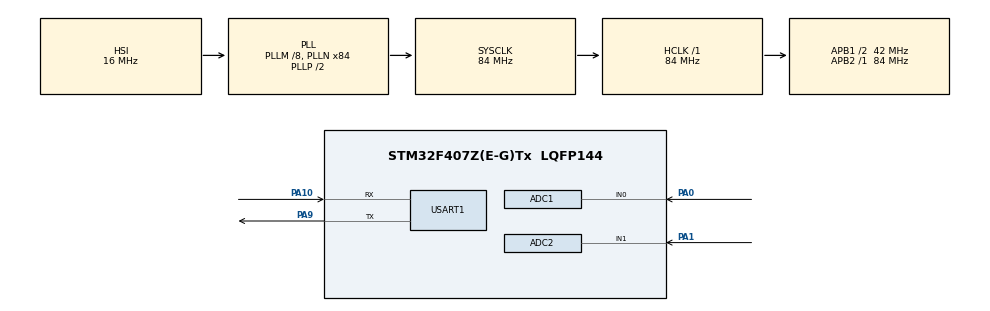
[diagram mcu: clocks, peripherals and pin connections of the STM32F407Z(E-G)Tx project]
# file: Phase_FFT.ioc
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ADC1.Channel-0\#ChannelRegularConversion=ADC_CHANNEL_0
ADC1.ClockPrescaler=ADC_CLOCK_SYNC_PCLK_DIV4
ADC1.DMAContinuousRequests=DISABLE
ADC1.EOCSelection=ADC_EOC_SINGLE_CONV
ADC1.ExternalTrigConv=ADC_EXTERNALTRIGCONV_T3_TRGO
ADC1.Mode=__NULL
ADC1.NbrOfConversionFlag=1
ADC1.Rank-0\#ChannelRegularConversion=1
ADC1.SamplingTime-0\#ChannelRegularConversion=ADC_SAMPLETIME_3CYCLES
ADC1.master=1
ADC2.Channel-1\#ChannelRegularConversion=ADC_CHANNEL_1
ADC2.ExternalTrigConv=ADC_EXTERNALTRIGCONV_T3_TRGO
ADC2.InjNumberOfConversion=0
ADC2.NbrOfConversionFlag=1
Dma.ADC1.0.Direction=DMA_PERIPH_TO_MEMORY
Dma.ADC1.0.FIFOMode=DMA_FIFOMODE_DISABLE
Dma.ADC1.0.Instance=DMA2_Stream0
Dma.ADC1.0.MemDataAlignment=DMA_MDATAALIGN_HALFWORD
Dma.ADC1.0.MemInc=DMA_MINC_ENABLE
Dma.ADC1.0.Mode=DMA_NORMAL
Dma.ADC1.0.PeriphDataAlignment=DMA_PDATAALIGN_HALFWORD
Dma.ADC1.0.PeriphInc=DMA_PINC_DISABLE
Dma.ADC1.0.Priority=DMA_PRIORITY_LOW
Dma.ADC2.1.Direction=DMA_PERIPH_TO_MEMORY
Dma.ADC2.1.FIFOMode=DMA_FIFOMODE_DISABLE
Dma.ADC2.1.Instance=DMA2_Stream2
Dma.ADC2.1.MemDataAlignment=DMA_MDATAALIGN_HALFWORD
Dma.ADC2.1.MemInc=DMA_MINC_ENABLE
Dma.ADC2.1.Mode=DMA_NORMAL
Dma.ADC2.1.PeriphDataAlignment=DMA_PDATAALIGN_HALFWORD
Dma.ADC2.1.PeriphInc=DMA_PINC_DISABLE
Dma.ADC2.1.Priority=DMA_PRIORITY_LOW
Dma.Request0=ADC1
Dma.Request1=ADC2
Mcu.Family=STM32F4
Mcu.Name=STM32F407Z(E-G)Tx
Mcu.Package=LQFP144
NVIC.DMA2_Stream0_IRQn=true\:0\:0\:false\:false\:true\:false\:true\:true
NVIC.DMA2_Stream2_IRQn=true\:0\:0\:false\:false\:true\:false\:true\:true
NVIC.PriorityGroup=NVIC_PRIORITYGROUP_4
PA0-WKUP.Signal=ADCx_IN0
PA1.Signal=ADCx_IN1
PA10.Mode=Asynchronous
PA10.Signal=USART1_RX
PA13.Mode=Serial_Wire
PA13.Signal=SYS_JTMS-SWDIO
PA14.Mode=Serial_Wire
PA14.Signal=SYS_JTCK-SWCLK
PA9.Mode=Asynchronous
PA9.Signal=USART1_TX
PH0-OSC_IN.Mode=HSE-External-Oscillator
PH0-OSC_IN.Signal=RCC_OSC_IN
PH1-OSC_OUT.Mode=HSE-External-Oscillator
PH1-OSC_OUT.Signal=RCC_OSC_OUT
ProjectManager.HeapSize=0x200
ProjectManager.StackSize=0x400
ProjectManager.TargetToolchain=MDK-ARM V5.32
RCC.48MHZClocksFreq_Value=42000000
RCC.AHBFreq_Value=84000000
RCC.APB1CLKDivider=RCC_HCLK_DIV2
RCC.APB1Freq_Value=42000000
RCC.APB1TimFreq_Value=84000000
RCC.APB2Freq_Value=84000000
RCC.APB2TimCLKDivider=1
RCC.APB2TimFreq_Value=84000000
RCC.CortexFreq_Value=84000000
RCC.HCLKFreq_Value=84000000
RCC.HSE_VALUE=25000000
RCC.HSI_VALUE=16000000
RCC.LSE_VALUE=32768
RCC.PLLM=8
RCC.PLLN=84
RCC.SYSCLKFreq_VALUE=84000000
RCC.SYSCLKSource=RCC_SYSCLKSOURCE_PLLCLK
RCC.VCOOutputFreq_Value=168000000
SH.ADCx_IN0.0=ADC1_IN0,IN0
SH.ADCx_IN1.0=ADC2_IN1,IN1
TIM3.AutoReloadPreload=TIM_AUTORELOAD_PRELOAD_ENABLE
TIM3.Period=82-1
TIM3.Prescaler=0
TIM3.TIM_MasterOutputTrigger=TIM_TRGO_UPDATE
USART1.VirtualMode=VM_ASYNC
VP_TIM3_VS_ClockSourceINT.Mode=Internal
board=custom

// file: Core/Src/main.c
/* USER CODE BEGIN Header */
/**
  ******************************************************************************
  * @file           : main.c
  * @brief          : Main program body
  ******************************************************************************
  * @attention
  *
  * Copyright (c) 2025 STMicroelectronics.
  * All rights reserved.
  *
  * This software is licensed under terms that can be found in the LICENSE file
  * in the root directory of this software component.
  * If no LICENSE file comes with this software, it is provided AS-IS.
  *
  ******************************************************************************
  */
/* USER CODE END Header */
#include "main.h"
#include "adc.h"
#include "dma.h"
#include "tim.h"
#include "usart.h"
#include "gpio.h"

/* USER CODE BEGIN Includes */
#include "arm_math.h"
#include "arm_const_structs.h"
#include "stdio.h"
#include "apFFT.h"
/* USER CODE END Includes */

/* USER CODE BEGIN PD */
#define FFT_LENGTH 1024
/* USER CODE END PD */

/* USER CODE BEGIN PV */

/*
AdcConvEnd用来检测ADC是否采集完毕
0：没有采集完毕
1：采集完毕，在stm32f1xx_it里的DMA完成中断进行修改
 */

/* USER CODE END PV */

void SystemClock_Config(void);
/* USER CODE BEGIN PFP */
float Calculate_Frequency(uint16_t *adc_data, uint32_t fft_size, float sampling_freq);
/* USER CODE END PFP */

/* USER CODE BEGIN 0 */
__IO uint8_t AdcConvEnd1 = 0;
__IO uint8_t AdcConvEnd2 = 0;
extern uint16_t adcBuff1[FFT_LENGTH];
extern uint16_t adcBuff2[FFT_LENGTH];
/* USER CODE END 0 */

int main(void)
{

  /* USER CODE BEGIN 1 */
  float sampling_freq = 1024390.f; // 修改为1MHz

  /* USER CODE END 1 */

  /* MCU Configuration--------------------------------------------------------*/

  /* Reset of all peripherals, Initializes the Flash interface and the Systick. */
  HAL_Init();

  /* Configure the system clock */
  SystemClock_Config();

  /* Initialize all configured peripherals */
  MX_GPIO_Init();
  MX_DMA_Init();
  MX_ADC1_Init();
  MX_TIM3_Init();
  MX_USART1_UART_Init();
  MX_ADC2_Init();
  /* USER CODE BEGIN 2 */
HAL_ADC_Start_DMA(&hadc1, (uint32_t *)adcBuff1, FFT_LENGTH);
HAL_ADC_Start_DMA(&hadc2, (uint32_t *)adcBuff2, FFT_LENGTH);
HAL_TIM_Base_Start(&htim3);

while (!AdcConvEnd1 && AdcConvEnd2)       //等待转换完毕
	;
/////////////////////////////////////////////////////////////

          float freq1 = Calculate_Frequency(adcBuff1, FFT_LENGTH, sampling_freq);
					float freq2 = Calculate_Frequency(adcBuff2, FFT_LENGTH, sampling_freq);
            printf("\nMeasured Frequency1	: %.2f kHz\r\n", freq1/1000);
						printf("Measured Frequency2	: %.2f kHz\r\n", freq2/1000);
					float phase_diff = Calculate_PhaseDifference(adcBuff1, adcBuff2, FFT_LENGTH, sampling_freq);
						printf("Phase Difference : %.4f degrees\n", phase_diff);
            AdcConvEnd1 = 0;AdcConvEnd2 = 0;
            HAL_ADC_Start_DMA(&hadc1, (uint32_t *)adcBuff1, FFT_LENGTH);
						HAL_ADC_Start_DMA(&hadc2, (uint32_t *)adcBuff2, FFT_LENGTH);

  /* USER CODE END 2 */

  /* Infinite loop */
  while (1)
  {
        }

}

void SystemClock_Config(void)
{
  RCC_OscInitTypeDef RCC_OscInitStruct = {0};
  RCC_ClkInitTypeDef RCC_ClkInitStruct = {0};

  /** Configure the main internal regulator output voltage
  */
  __HAL_RCC_PWR_CLK_ENABLE();
  __HAL_PWR_VOLTAGESCALING_CONFIG(PWR_REGULATOR_VOLTAGE_SCALE1);

  /** Initializes the RCC Oscillators according to the specified parameters
  * in the RCC_OscInitTypeDef structure.
  */
  RCC_OscInitStruct.OscillatorType = RCC_OSCILLATORTYPE_HSI;
  RCC_OscInitStruct.HSIState = RCC_HSI_ON;
  RCC_OscInitStruct.HSICalibrationValue = RCC_HSICALIBRATION_DEFAULT;
  RCC_OscInitStruct.PLL.PLLState = RCC_PLL_ON;
  RCC_OscInitStruct.PLL.PLLSource = RCC_PLLSOURCE_HSI;
  RCC_OscInitStruct.PLL.PLLM = 8;
  RCC_OscInitStruct.PLL.PLLN = 84;
  RCC_OscInitStruct.PLL.PLLP = RCC_PLLP_DIV2;
  RCC_OscInitStruct.PLL.PLLQ = 4;
  if (HAL_RCC_OscConfig(&RCC_OscInitStruct) != HAL_OK)
  {
    Error_Handler();
  }

  /** Initializes the CPU, AHB and APB buses clocks
  */
  RCC_ClkInitStruct.ClockType = RCC_CLOCKTYPE_HCLK|RCC_CLOCKTYPE_SYSCLK
                              |RCC_CLOCKTYPE_PCLK1|RCC_CLOCKTYPE_PCLK2;
  RCC_ClkInitStruct.SYSCLKSource = RCC_SYSCLKSOURCE_PLLCLK;
  RCC_ClkInitStruct.AHBCLKDivider = RCC_SYSCLK_DIV1;
  RCC_ClkInitStruct.APB1CLKDivider = RCC_HCLK_DIV2;
  RCC_ClkInitStruct.APB2CLKDivider = RCC_HCLK_DIV1;

  if (HAL_RCC_ClockConfig(&RCC_ClkInitStruct, FLASH_LATENCY_2) != HAL_OK)
  {
    Error_Handler();
  }
}

void Error_Handler(void)
{
  __disable_irq();
  while (1)
  {
  }
}
